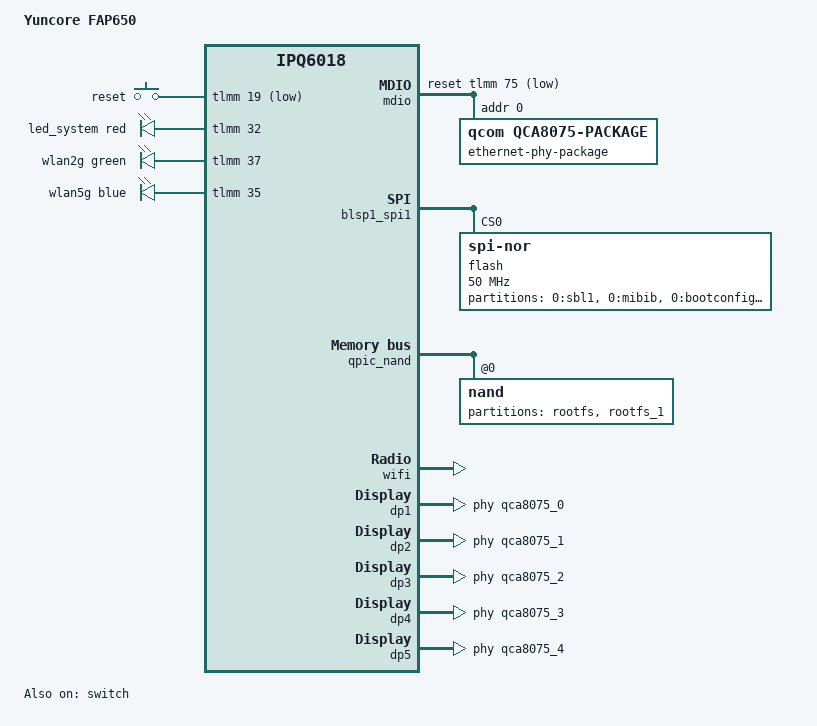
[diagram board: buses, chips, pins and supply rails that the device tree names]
// SPDX-License-Identifier: GPL-2.0-or-later OR MIT

/dts-v1/;

#include "ipq6018.dtsi"
#include "ipq6018-ess.dtsi"
#include "ipq6018-nss.dtsi"
#include "ipq6018-common.dtsi"
#include "ipq6018-cp-cpu.dtsi"

#include <dt-bindings/gpio/gpio.h>
#include <dt-bindings/input/input.h>
#include <dt-bindings/leds/common.h>

/ {
	model = "Yuncore FAP650";
	compatible = "yuncore,fap650", "qcom,ipq6018";

	aliases {
		serial0 = &blsp1_uart3;

		led-boot = &led_system;
		led-failsafe = &led_system;
		led-running = &led_system;
		led-upgrade = &led_system;

		ethernet0 = &dp5;
		ethernet1 = &dp4;
		ethernet2 = &dp3;
		ethernet3 = &dp2;
		ethernet4 = &dp1;

		label-mac-device = &dp5;
	};

	chosen {
		stdout-path = "serial0:115200n8";
		bootargs-append = " root=/dev/ubiblock0_1";
	};

	keys {
		compatible = "gpio-keys";

		reset {
			label = "reset";
			gpios = <&tlmm 19 GPIO_ACTIVE_LOW>;
			linux,code = <KEY_RESTART>;
		};
	};

	leds {
		compatible = "gpio-leds";

		led_system: system {
			color = <LED_COLOR_ID_RED>;
			function = LED_FUNCTION_STATUS;
			gpios = <&tlmm 32 GPIO_ACTIVE_HIGH>;
		};

		wlan2g {
			color = <LED_COLOR_ID_GREEN>;
			function = LED_FUNCTION_WLAN_2GHZ;
			gpios = <&tlmm 37 GPIO_ACTIVE_HIGH>;
		};

		wlan5g {
			color = <LED_COLOR_ID_BLUE>;
			function = LED_FUNCTION_WLAN_5GHZ;
			gpios = <&tlmm 35 GPIO_ACTIVE_HIGH>;
		};
	};
};

&mdio {
	status = "okay";

	pinctrl-0 = <&mdio_pins>;
	pinctrl-names = "default";
	reset-gpios = <&tlmm 75 GPIO_ACTIVE_LOW>;

	ethernet-phy-package@0 {
		compatible = "qcom,qca8075-package";
		#address-cells = <1>;
		#size-cells = <0>;
		reg = <0>;

		qca8075_0: ethernet-phy@0 {
			compatible = "ethernet-phy-ieee802.3-c22";
			reg = <0>;
		};

		qca8075_1: ethernet-phy@1 {
			compatible = "ethernet-phy-ieee802.3-c22";
			reg = <1>;
		};

		qca8075_2: ethernet-phy@2 {
			compatible = "ethernet-phy-ieee802.3-c22";
			reg = <2>;
		};

		qca8075_3: ethernet-phy@3 {
			compatible = "ethernet-phy-ieee802.3-c22";
			reg = <3>;
		};

		qca8075_4: ethernet-phy@4 {
			compatible = "ethernet-phy-ieee802.3-c22";
			reg = <4>;
		};
	};
};

&switch {
	status = "okay";
	switch_lan_bmp = <(ESS_PORT1 | ESS_PORT2 | ESS_PORT3 | ESS_PORT4)>;
	switch_wan_bmp = <ESS_PORT5>;
	switch_mac_mode = <MAC_MODE_PSGMII>;

	qcom,port_phyinfo {
		port@1 {
			port_id = <1>;
			phy_address = <0>;
		};

		port@2 {
			port_id = <2>;
			phy_address = <1>;
		};

		port@3 {
			port_id = <3>;
			phy_address = <2>;
		};

		port@4 {
			port_id = <4>;
			phy_address = <3>;
		};

		port@5 {
			port_id = <5>;
			phy_address = <4>;
		};
	};
};

&blsp1_spi1 {
	status = "okay";

	flash@0 {
		compatible = "jedec,spi-nor";
		spi-max-frequency = <50000000>;
		reg = <0>;

		partitions {
			compatible = "fixed-partitions";
			#address-cells = <1>;
			#size-cells = <1>;

			partition@0 {
				reg = <0x00000000 0x000c0000>;
				label = "0:sbl1";
			};

			partition@c0000 {
				reg = <0x000c0000 0x00010000>;
				label = "0:mibib";
			};

			partition@d0000 {
				reg = <0x000d0000 0x00020000>;
				label = "0:bootconfig";
			};

			partition@f0000 {
				reg = <0x000f0000 0x00020000>;
				label = "0:bootconfig1";
			};

			partition@110000 {
				reg = <0x00110000 0x001a0000>;
				label = "0:qsee";
			};

			partition@2b0000 {
				reg = <0x002b0000 0x001a0000>;
				label = "0:qsee_1";
			};

			partition@450000 {
				reg = <0x00450000 0x00010000>;
				label = "0:devcfg";
			};

			partition@460000 {
				reg = <0x00460000 0x00010000>;
				label = "0:devcfg_1";
			};

			partition@470000 {
				reg = <0x00470000 0x00040000>;
				label = "0:rpm";
			};

			partition@4b0000 {
				reg = <0x004b0000 0x00040000>;
				label = "0:rpm_1";
			};

			partition@4f0000 {
				reg = <0x004f0000 0x00010000>;
				label = "0:cdt";
			};

			partition@500000 {
				reg = <0x00500000 0x00010000>;
				label = "0:cdt_1";
			};

			partition@510000 {
				reg = <0x00510000 0x00010000>;
				label = "0:appsblenv";
			};

			partition@520000 {
				reg = <0x00520000 0x000a0000>;
				label = "0:appsbl";
			};

			partition@5c0000 {
				reg = <0x005c0000 0x000a0000>;
				label = "0:appsbl_1";
			};

			partition@660000 {
				reg = <0x00660000 0x00040000>;
				label = "0:art";
			};
		};
	};
};

&qpic_nand {
	status = "okay";

	partitions {
		status = "disabled";
	};

	nand@0 {
		reg = <0>;

		nand-ecc-strength = <4>;
		nand-ecc-step-size = <512>;
		nand-bus-width = <8>;

		partitions {
			compatible = "fixed-partitions";
			#address-cells = <1>;
			#size-cells = <1>;

			partition@0 {
				label = "rootfs";
				reg = <0x00000000 0x03c00000>;
			};

			partition@3c00000 {
				label = "rootfs_1";
				reg = <0x03c00000 0x03c00000>;
			};
		};
	};
};

&wifi {
	status = "okay";
	qcom,ath11k-fw-memory-mode = <1>;
	qcom,ath11k-calibration-variant = "Yuncore-FAP650";
};

&dp1 {
	status = "okay";
	phy-handle = <&qca8075_0>;
	label = "lan1";
};

&dp2 {
	status = "okay";
	phy-handle = <&qca8075_1>;
	label = "lan2";
};

&dp3 {
	status = "okay";
	phy-handle = <&qca8075_2>;
	label = "lan3";
};

&dp4 {
	status = "okay";
	phy-handle = <&qca8075_3>;
	label = "lan4";
};

&dp5 {
	status = "okay";
	phy-handle = <&qca8075_4>;
	label = "wan";
};

&edma {
	status = "okay";
};
